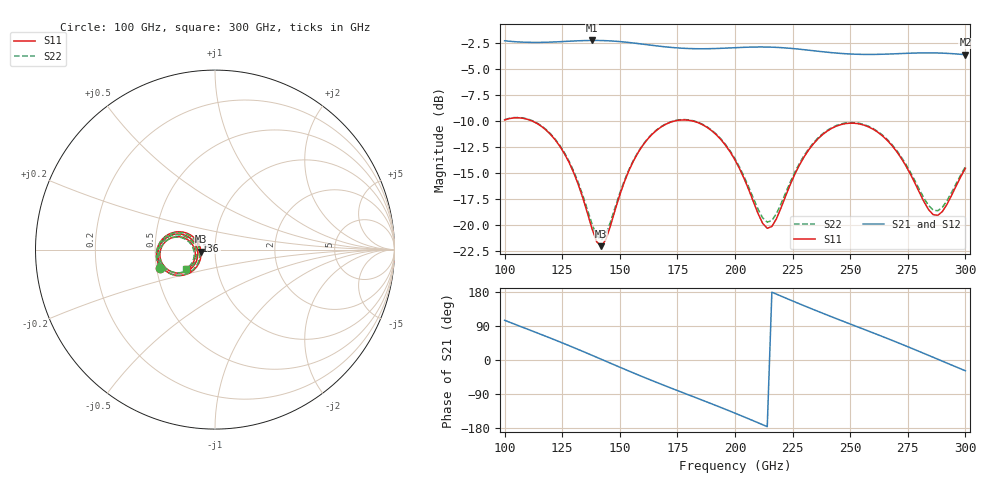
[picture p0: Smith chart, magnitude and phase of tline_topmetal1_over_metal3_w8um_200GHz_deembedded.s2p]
! Created with skrf 2.2.0 (http://scikit-rf.org).
# GHz S DB R 50.0
! Port[1] = P1
! Port[2] = P2
!freq dBS11 angS11 dBS21 angS21 dBS12 angS12 dBS22 angS22
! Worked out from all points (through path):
!   101 points, 100 GHz to 300 GHz, reference 50 ohm
!   highest |S21| = -2.26 dB at 138 GHz (marker M1); lowest = -3.6 dB at 300 GHz (marker M2)
!   group delay of S21, straight-line fit = 6.85 ps
!   lowest |S11| = -22.0 dB at 142 GHz (marker M3), VSWR 1.17, Z = 42.7 - j1.01 ohm
!   |S11| at or under -10 dB: 112 GHz to 173.7 GHz (61.75 GHz wide, 43.2 % of centre); 181.7 GHz to end of sweep
!   |S22| runs from -21.4 to -9.7 dB; largest |S21 - S12| = 1.3e-13
!   S11 on the Smith chart (normalised r, x): 100 GHz: 0.52, -0.12; 136 GHz: 0.81, +0.08; 300 GHz: 0.72, -0.16
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100  -9.89 -161.8  -2.30 104.8  -2.30 104.8  -9.87 -161.2
108  -9.74 -176.9  -2.42 85.9  -2.42 85.9  -9.70 -176.2
118  -10.87 165.1  -2.43 62.3  -2.43 62.3  -10.82 166.2
126  -13.15 153.2  -2.36 42.8  -2.36 42.8  -13.05 154.6
134  -17.42 150.3  -2.28 22.6  -2.28 22.6  -17.17 152.4
136  -18.88 153.8  -2.27 17.4  -2.27 17.4  -18.55 156.0
138  -20.38 161.0  -2.26 12.3  -2.26 12.3  -19.93 162.9
142  -22.02 -171.5  -2.27 1.8  -2.27 1.8  -21.41 -171.6
156  -13.80 -138.4  -2.51 -34.4  -2.51 -34.4  -13.73 -139.3
168  -10.56 -155.9  -2.83 -64.0  -2.83 -64.0  -10.52 -155.9
184  -10.16 176.9  -3.06 -101.8  -3.06 -101.8  -10.12 177.5
200  -13.74 155.4  -2.96 -140.3  -2.96 -140.3  -13.62 156.9
214  -20.30 -176.5  -2.89 -175.9  -2.89 -175.9  -19.71 -175.9
224  -16.09 -142.1  -3.02 158.4  -3.02 158.4  -15.85 -143.6
234  -12.20 -147.7  -3.25 133.3  -3.25 133.3  -12.10 -148.6
250  -10.20 -171.4  -3.56 95.0  -3.56 95.0  -10.15 -171.5
260  -10.79 173.5  -3.60 71.4  -3.60 71.4  -10.73 173.8
268  -12.32 163.4  -3.55 52.2  -3.55 52.2  -12.23 164.1
278  -15.92 160.3  -3.47 27.5  -3.47 27.5  -15.70 161.5
286  -18.99 -178.7  -3.46 7.2  -3.46 7.2  -18.55 -178.5
290  -18.70 -161.4  -3.48 -3.0  -3.48 -3.0  -18.29 -162.4
300  -14.53 -145.1  -3.63 -28.4  -3.63 -28.4  -14.38 -146.4
